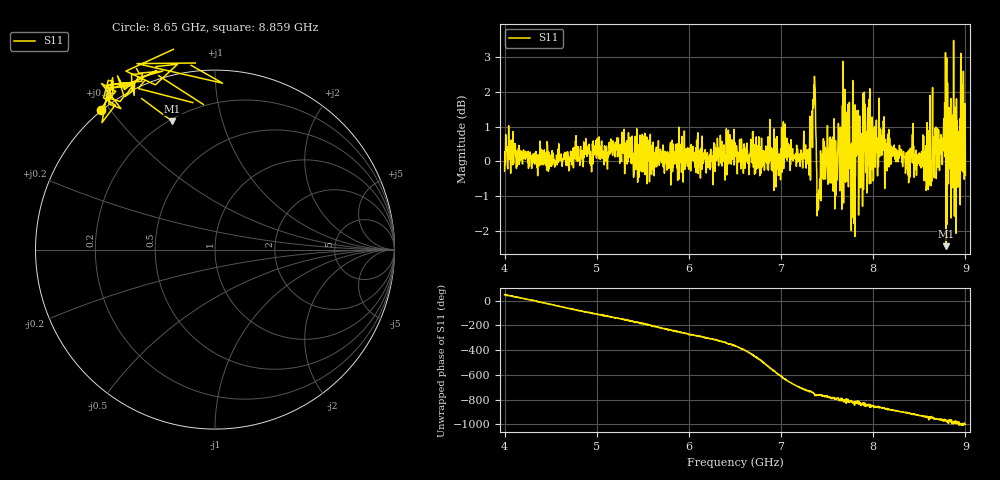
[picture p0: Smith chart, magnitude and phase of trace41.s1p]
! Created with skrf 1.8.0 (http://scikit-rf.org).
# Hz S RI R 50.0
!freq ReS11 ImS11
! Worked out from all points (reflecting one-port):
!   1601 points, 4 GHz to 9 GHz, reference 50 ohm
!   lowest |S11| = -2.4 dB at 8.791 GHz (marker M1), VSWR 7.14, Z = 10.5 + j35 ohm
!   phase of S11 starts at 50 deg and turns -1052 deg over the sweep
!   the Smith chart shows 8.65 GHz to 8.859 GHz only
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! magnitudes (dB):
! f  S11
! 4 GHz  -0.3
! 4.094 GHz  0.1
! 4.625 GHz  -0.1
! 5.25 GHz  -0.1
! 5.875 GHz  0.0
! 6.5 GHz  0.4
! 7.125 GHz  0.4
! 7.294 GHz  -0.1
! 7.347 GHz  1.6
! 7.362 GHz  2.5
! 7.4 GHz  -1.0
! 7.412 GHz  -1.0
! 7.453 GHz  0.0
! 7.584 GHz  -1.4
! 7.688 GHz  2.1
! 7.75 GHz  0.2
! 7.775 GHz  0.1
! 7.828 GHz  1.5
! 7.859 GHz  0.9
! 7.891 GHz  0.7
! 8.097 GHz  0.2
! 8.375 GHz  -0.1
! 8.416 GHz  0.2
! 8.575 GHz  -0.8
! 8.791 GHz  -2.4
! 8.919 GHz  -0.7
! 8.972 GHz  0.7
! 9 GHz  -0.4
